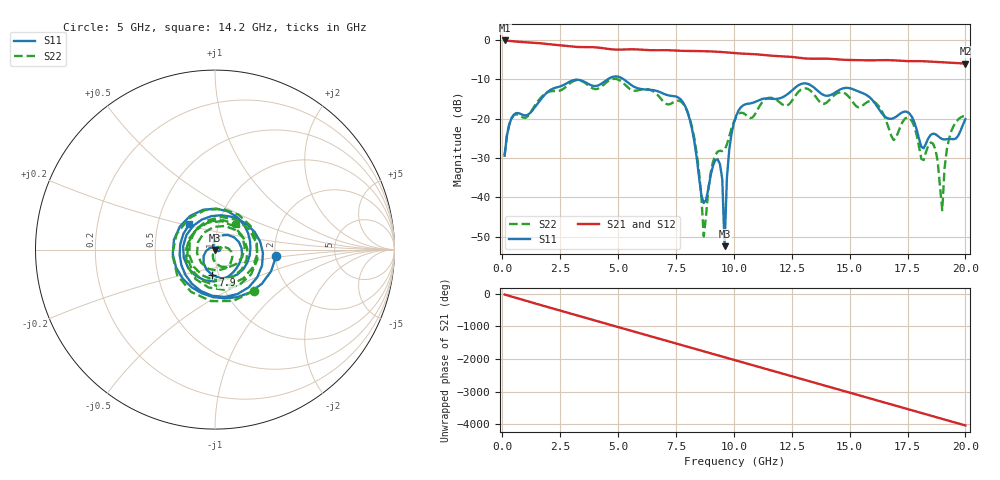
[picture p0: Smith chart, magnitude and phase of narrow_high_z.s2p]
! Touchstone file exported from Ansys Full-Wave Spice
! Project: narrow_high_z
!  Design: unknown
! Creation time: Tue Aug 11 13:45:59 2026
! Notes: Touchstone(R) file created by SIwave 2026 R1
!  : Touchstone(R) file created on Tue Aug 11 13:45:59 2026
!  : Design: Cell_KFM6T6
!  : Path:
!  : *** SIwave SYZ Simulation Settings ***
!  : SI/PI Main
!  :  SI Simulation -  Balanced
!  : SI/PI Advanced
!  :  Coupling
!  :  Coplane: On
!  :  Intra-plane: Off
!  :  Split-plane: On
!  :  Cavity field: On
!  :  Trace: On
!  :  Cross-talk threshold: -34dB
!  :  Max. coupled lines: 12
!  :  Geometry Processing
!  :  Void area threshold: 2mm^2
!  :  Pad area threshold: 3.712mm^2
!  :  Planes area threshold: 3.364E-05mm^2
!  :  Vertex snap distance threshold: 0.0025mm
!  :  Mesh Refinement
!  :  Auto
!  :  AC/DC Merge
!  :  Default
!  :  Trace return current distribution: Off
!  :  Include voltage/current source parasitics: No
!  :  Add infinite ground plane: No
!  :  Exclude non-functional pads: Yes
!  : Temperature
!  :  Uniform distribution: 20cel
!  : Net Processing
!  :  Auto select nets
!  : S-parameter Modeling
!  :  State Space Model
!  : Sweep
!  :  Name: TDR_VALIDATION_narrow_high_z
!  :  AC/DC Merge: Off
!  :  Discrete Sweep
!  :  Frequency Point Distribution:
!  :  Linear Step: 1E+08Hz -> 2E+10Hz 1E+08Hz step
!  :  Enforce Causality: Yes
!  :  Enforce Passivity: Yes
!  :  Q3D Regions: Off
!  :  HFSS Regions: Off
! Modal data exported
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# HZ S RI R 50
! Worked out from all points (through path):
!   200 points, 100 MHz to 20 GHz, reference 50 ohm
!   highest |S21| = -0.09 dB at 100 MHz (marker M1); lowest = -6.0 dB at 20 GHz (marker M2)
!   group delay of S21, straight-line fit = 560 ps
!   lowest |S11| = -52.4 dB at 9.6 GHz (marker M3), VSWR 1.00, Z = 50 - j0.236 ohm
!   |S11| at or under -10 dB: start of sweep to 4.542 GHz; 5.246 GHz to end of sweep
!   |S22| runs from -49.9 to -9.9 dB; largest |S21 - S12| = 0
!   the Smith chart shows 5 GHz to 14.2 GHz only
!   S11 on the Smith chart (normalised r, x): 5 GHz: 2.03, -0.16; 7.9 GHz: 0.93, -0.27; 14.2 GHz: 0.72, +0.21
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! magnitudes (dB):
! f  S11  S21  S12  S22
! 100 MHz  -29.4  -0.1  -0.1  -29.3
! 500 MHz  -18.9  -0.3  -0.3  -19.1
! 3.5 GHz  -10.5  -1.8  -1.8  -10.6
! 5 GHz  -9.3  -2.4  -2.4  -10.0
! 6.8 GHz  -13.2  -2.6  -2.6  -14.6
! 7.9 GHz  -16.9  -2.8  -2.8  -16.9
! 8.4 GHz  -30.1  -2.8  -2.8  -28.9
! 8.7 GHz  -41.4  -2.8  -2.8  -49.9
! 9 GHz  -34.4  -2.9  -2.9  -33.7
! 9.3 GHz  -30.3  -3.0  -3.0  -28.4
! 9.5 GHz  -35.4  -3.0  -3.0  -28.2
! 9.6 GHz  -52.4  -3.1  -3.1  -27.9
! 9.7 GHz  -35.1  -3.1  -3.1  -26.6
! 9.8 GHz  -27.9  -3.2  -3.2  -24.5
! 10.1 GHz  -19.2  -3.3  -3.3  -19.5
! 13.4 GHz  -11.8  -4.7  -4.7  -13.4
! 14.2 GHz  -13.9  -4.8  -4.8  -14.8
! 16.7 GHz  -20.0  -5.1  -5.1  -22.6
! 18.6 GHz  -23.8  -5.5  -5.5  -26.3
! 19 GHz  -25.2  -5.6  -5.6  -43.3
! 19.3 GHz  -25.1  -5.7  -5.7  -24.9
! 20 GHz  -20.1  -6.0  -6.0  -19.3
